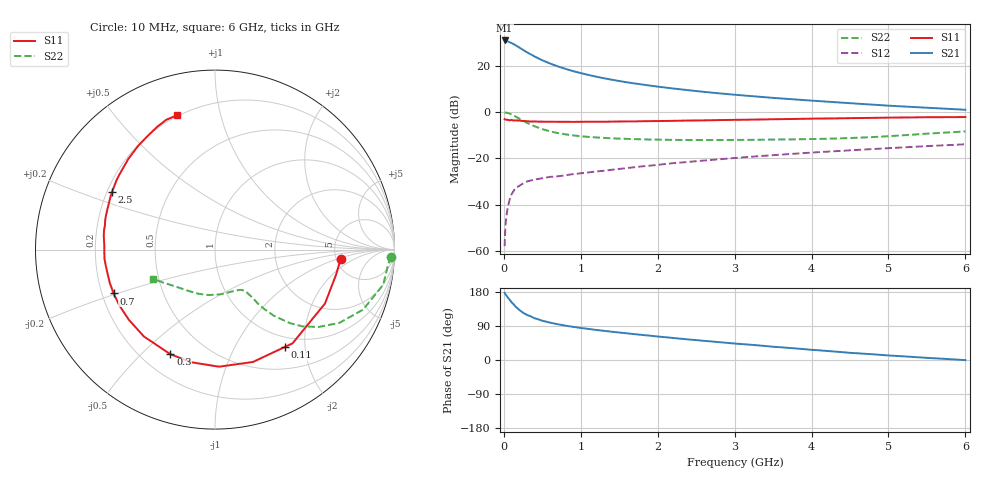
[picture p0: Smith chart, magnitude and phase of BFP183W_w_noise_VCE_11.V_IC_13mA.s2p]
! (c) 2017  Infineon Technologies AG, Munich
! Infineon Technologies  Discrete & RF Semiconductors
! BFP183W
! VCE =  11. V,  IC =  13 mA
! Common Emitter S-Parameters:  Jan 2017
# GHz  S  MA  R  50
!  f  S11  S21  S12  S22
! GHz  MAG  ANG  MAG  ANG  MAG  ANG  MAG  ANG
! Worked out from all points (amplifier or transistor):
!   77 points, 10 MHz to 6 GHz, reference 50 ohm
!   highest |S21| = 30.8 dB at 10 MHz (marker M1)
!   |S21| within 3 dB of that: start of sweep to 198.6 MHz
!   unconditionally stable (mu >= 1): 1.517 GHz to 3.798 GHz
!   at 130 MHz: K = 0.18, MSG = 31.5 dB, |S12| = -33.8 dB
!   at 2.2 GHz: K = 1.06, MAG = 14.6 dB, |S12| = -22.0 dB
!   at 6 GHz: K = 0.85, MSG = 7.4 dB, |S12| = -13.9 dB
!   lowest NFmin = 1.01 dB at 450 MHz
!   S11 on the Smith chart (normalised r, x): 10 MHz: 5.45, -1.16; 110 MHz: 0.83, -1.62; 300 MHz: 0.32, -0.61; 700 MHz: 0.25, -0.19; 2.5 GHz: 0.22, +0.25; 6 GHz: 0.19, +0.74
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0.01  0.7018 -4.4  34.57 177.2  0.0013 77.5  0.9839 -2.3
0.02  0.6888 -11.7  34.01 173.7  0.0034 93.9  0.9689 -4.7
0.05  0.6826 -26.1  33.02 165.6  0.0087 73.4  0.9577 -11.7
0.1  0.6778 -50.4  30.56 152.5  0.0169 68.7  0.8902 -22.1
0.11  0.6674 -54.5  29.87 150.5  0.0181 66.3  0.8716 -23.6
0.15  0.6608 -71.3  27.5 141.5  0.0229 59.1  0.8041 -30.5
0.2  0.6528 -88.0  24.39 132.3  0.0257 54.1  0.7214 -36.7
0.25  0.6414 -101.9  21.66 124.8  0.0291 49.0  0.6481 -41.3
0.3  0.6337 -113.1  19.25 119.1  0.0319 46.4  0.5843 -44.5
0.4  0.6255 -129.3  15.61 110.1  0.0353 42.3  0.4914 -48.4
0.5  0.6191 -140.9  12.95 103.7  0.0376 41.3  0.4285 -50.4
0.6  0.6169 -149.8  11.06 98.6  0.0402 40.9  0.3844 -51.5
0.7  0.6155 -156.6  9.594 94.4  0.0413 41.6  0.3523 -51.9
0.9  0.6133 -167.2  7.571 87.5  0.0461 43.7  0.3138 -52.9
1.1  0.6178 -175.1  6.262 82.0  0.0502 45.6  0.2915 -53.6
1.5  0.6246 172.8  4.633 72.5  0.0596 49.5  0.2673 -57.2
2.1  0.6414 158.5  3.355 60.1  0.0761 52.2  0.2527 -66.6
2.5  0.6571 150.7  2.824 52.5  0.0873 52.8  0.2496 -75.0
3.1  0.6805 140.2  2.279 41.9  0.1055 52.3  0.2509 -88.6
4.1  0.7217 125.4  1.713 25.5  0.137 49.4  0.2639 -113.2
5.1  0.759 114.3  1.34 10.8  0.1701 44.7  0.3086 -139.3
6  0.7777 105.9  1.116 -0.3  0.2021 39.5  0.3825 -155.0
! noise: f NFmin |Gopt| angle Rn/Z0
0.45  1.01  0.12  144  0.1
0.9  1.04  0.19  155  0.09
1.9  1.52  0.38  -172  0.08
2.4  1.75  0.44  -164  0.1
